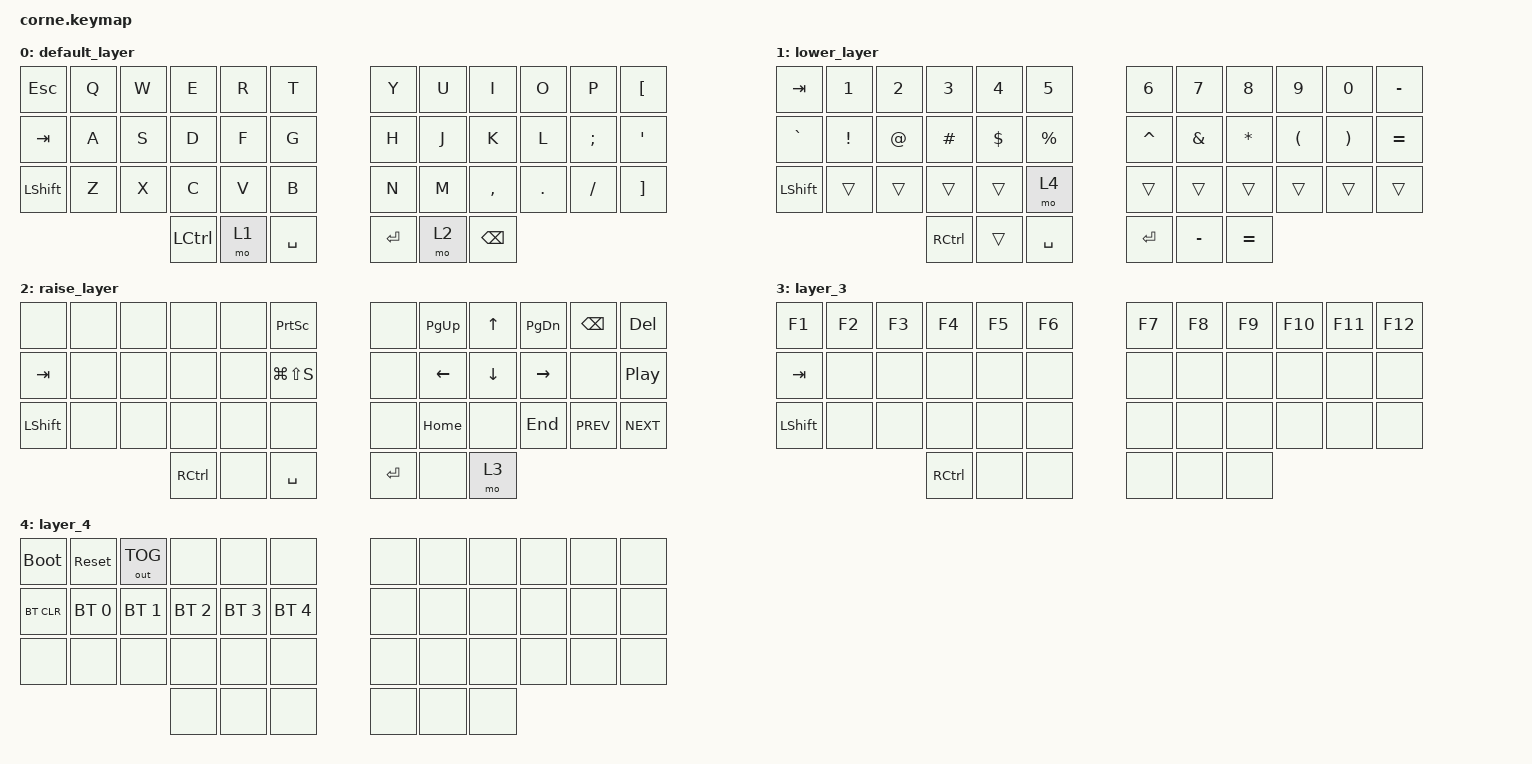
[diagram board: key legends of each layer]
/*
 * Copyright (c) 2020 The ZMK Contributors
 *
 * SPDX-License-Identifier: MIT
 */

#include <behaviors.dtsi>
#include <dt-bindings/zmk/bt.h>
#include <dt-bindings/zmk/keys.h>
#include <dt-bindings/zmk/outputs.h>

/ {
    keymap {
        compatible = "zmk,keymap";

        default_layer {
            // -----------------------------------------------------------------------------------------
            // |  TAB |  Q  |  W  |  E  |  R  |  T  |   |  Y  |  U   |  I  |  O  |  P  | BKSP |
            // | CTRL |  A  |  S  |  D  |  F  |  G  |   |  H  |  J   |  K  |  L  |  ;  |  '   |
            // | SHFT |  Z  |  X  |  C  |  V  |  B  |   |  N  |  M   |  ,  |  .  |  /  | ESC  |
            //                    | GUI | LWR | SPC |   | ENT | RSE  | ALT |

            bindings = <
&kp ESC    &kp Q  &kp W  &kp E      &kp R  &kp T        &kp Y    &kp U  &kp I          &kp O    &kp P     &kp LEFT_BRACKET
&kp TAB    &kp A  &kp S  &kp D      &kp F  &kp G        &kp H    &kp J  &kp K          &kp L    &kp SEMI  &kp SQT
&kp LSHFT  &kp Z  &kp X  &kp C      &kp V  &kp B        &kp N    &kp M  &kp COMMA      &kp DOT  &kp FSLH  &kp RIGHT_BRACKET
                         &kp LCTRL  &mo 1  &kp SPACE    &kp RET  &mo 2  &kp BACKSPACE
            >;
        };

        lower_layer {
            // -----------------------------------------------------------------------------------------
            // |  TAB |  1  |  2  |  3  |  4  |  5  |   |  6  |  7  |  8  |  9  |  0  | BKSP |
            // | BTCLR| BT1 | BT2 | BT3 | BT4 | BT5 |   | LFT | DWN |  UP | RGT |     |      |
            // | SHFT |     |     |     |     |     |   |     |     |     |     |     |      |
            //                    | GUI |     | SPC |   | ENT |     | ALT |

            bindings = <
&kp TAB    &kp N1    &kp N2  &kp N3     &kp N4    &kp N5       &kp N6     &kp N7     &kp N8     &kp N9    &kp N0    &kp MINUS
&kp GRAVE  &kp EXCL  &kp AT  &kp HASH   &kp DLLR  &kp PRCNT    &kp CARET  &kp AMPS   &kp ASTRK  &kp LPAR  &kp RPAR  &kp EQUAL
&kp LSHFT  &trans    &trans  &trans     &trans    &mo 4        &trans     &trans     &trans     &trans    &trans    &trans
                             &kp RCTRL  &trans    &kp SPACE    &kp RET    &kp MINUS  &kp EQUAL
            >;
        };

        raise_layer {
            // -----------------------------------------------------------------------------------------
            // |  TAB |  !  |  @  |  #  |  $  |  %  |   |  ^  |  &  |  *  |  (  |  )  | BKSP |
            // | CTRL |     |     |     |     |     |   |  -  |  =  |  [  |  ]  |  \  |  `   |
            // | SHFT |     |     |     |     |     |   |  _  |  +  |  {  |  }  | "|" |  ~   |
            //                    | GUI |     | SPC |   | ENT |     | ALT |

            bindings = <
&none      &none  &none  &none      &none  &kp PRINTSCREEN    &none    &kp PG_UP  &kp UP    &kp PG_DN  &kp BACKSPACE  &kp DEL
&kp TAB    &none  &none  &none      &none  &kp LG(LS(S))      &none    &kp LEFT   &kp DOWN  &kp RIGHT  &none          &kp C_PLAY_PAUSE
&kp LSHFT  &none  &none  &none      &none  &none              &none    &kp HOME   &none     &kp END    &kp C_PREV     &kp C_NEXT
                         &kp RCTRL  &none  &kp SPACE          &kp RET  &none      &mo 3
            >;
        };

        layer_3 {
            bindings = <
&kp F1          &kp F2  &kp F3  &kp F4     &kp F5  &kp F6    &kp F7  &kp F8  &kp F9  &kp F10  &kp F11  &kp F12
&kp TAB         &none   &none   &none      &none   &none     &none   &none   &none   &none    &none    &none
&kp LEFT_SHIFT  &none   &none   &none      &none   &none     &none   &none   &none   &none    &none    &none
                                &kp RCTRL  &none   &none     &none   &none   &none
            >;
        };

        layer_4 {
            bindings = <
&bootloader  &sys_reset    &out OUT_TOG  &none         &none         &none           &none  &none  &none  &none  &none  &none
&bt BT_CLR   &bt BT_SEL 0  &bt BT_SEL 1  &bt BT_SEL 2  &bt BT_SEL 3  &bt BT_SEL 4    &none  &none  &none  &none  &none  &none
&none        &none         &none         &none         &none         &none           &none  &none  &none  &none  &none  &none
                                         &none         &none         &none           &none  &none  &none
            >;
        };
    };
};
